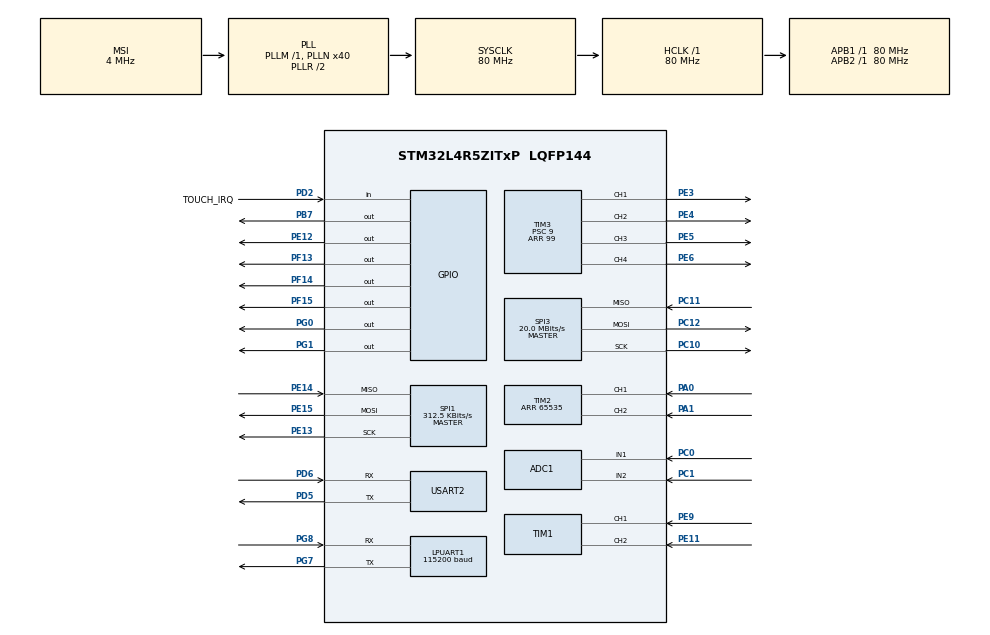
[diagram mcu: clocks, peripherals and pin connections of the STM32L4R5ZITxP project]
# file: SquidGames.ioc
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ADC1.Channel-0\#ChannelRegularConversion=ADC_CHANNEL_1
ADC1.Channel-1\#ChannelRegularConversion=ADC_CHANNEL_2
ADC1.ClockPrescaler=ADC_CLOCK_ASYNC_DIV32
ADC1.ContinuousConvMode=ENABLE
ADC1.DMAContinuousRequests=ENABLE
ADC1.NbrOfConversion=2
ADC1.NbrOfConversionFlag=1
ADC1.OffsetNumber-0\#ChannelRegularConversion=ADC_OFFSET_NONE
ADC1.OffsetNumber-1\#ChannelRegularConversion=ADC_OFFSET_NONE
ADC1.OversamplingMode=ENABLE
ADC1.Rank-0\#ChannelRegularConversion=1
ADC1.Rank-1\#ChannelRegularConversion=2
ADC1.Ratio=ADC_OVERSAMPLING_RATIO_256
ADC1.RightBitShift=ADC_RIGHTBITSHIFT_4
ADC1.SamplingTime-0\#ChannelRegularConversion=ADC_SAMPLETIME_92CYCLES_5
ADC1.SamplingTime-1\#ChannelRegularConversion=ADC_SAMPLETIME_92CYCLES_5
ADC1.master=1
Dma.ADC1.0.Direction=DMA_PERIPH_TO_MEMORY
Dma.ADC1.0.EventEnable=DISABLE
Dma.ADC1.0.Instance=DMA1_Channel1
Dma.ADC1.0.MemDataAlignment=DMA_MDATAALIGN_HALFWORD
Dma.ADC1.0.MemInc=DMA_MINC_ENABLE
Dma.ADC1.0.Mode=DMA_CIRCULAR
Dma.ADC1.0.PeriphDataAlignment=DMA_PDATAALIGN_HALFWORD
Dma.ADC1.0.PeriphInc=DMA_PINC_DISABLE
Dma.ADC1.0.Polarity=HAL_DMAMUX_REQUEST_GEN_RISING
Dma.ADC1.0.Priority=DMA_PRIORITY_LOW
Dma.ADC1.0.RequestNumber=1
Dma.ADC1.0.SignalID=NONE
Dma.ADC1.0.SyncEnable=DISABLE
Dma.ADC1.0.SyncPolarity=HAL_DMAMUX_SYNC_NO_EVENT
Dma.ADC1.0.SyncRequestNumber=1
Dma.ADC1.0.SyncSignalID=NONE
Dma.Request0=ADC1
Dma.Request1=SPI3_TX
Dma.SPI3_TX.1.Direction=DMA_MEMORY_TO_PERIPH
Dma.SPI3_TX.1.EventEnable=DISABLE
Dma.SPI3_TX.1.Instance=DMA1_Channel2
Dma.SPI3_TX.1.MemDataAlignment=DMA_MDATAALIGN_BYTE
Dma.SPI3_TX.1.MemInc=DMA_MINC_ENABLE
Dma.SPI3_TX.1.Mode=DMA_NORMAL
Dma.SPI3_TX.1.PeriphDataAlignment=DMA_PDATAALIGN_BYTE
Dma.SPI3_TX.1.PeriphInc=DMA_PINC_DISABLE
Dma.SPI3_TX.1.Polarity=HAL_DMAMUX_REQUEST_GEN_RISING
Dma.SPI3_TX.1.Priority=DMA_PRIORITY_HIGH
Dma.SPI3_TX.1.RequestNumber=1
Dma.SPI3_TX.1.SignalID=NONE
Dma.SPI3_TX.1.SyncEnable=DISABLE
Dma.SPI3_TX.1.SyncPolarity=HAL_DMAMUX_SYNC_NO_EVENT
Dma.SPI3_TX.1.SyncRequestNumber=1
Dma.SPI3_TX.1.SyncSignalID=NONE
LPUART1.BaudRate=115200
LPUART1.WordLength=UART_WORDLENGTH_8B
Mcu.Family=STM32L4
Mcu.Name=STM32L4R5ZITxP
Mcu.Package=LQFP144
NVIC.DMA1_Channel1_IRQn=true\:0\:0\:false\:false\:true\:false\:true\:true
NVIC.DMA1_Channel2_IRQn=true\:0\:0\:false\:false\:true\:false\:true\:true
NVIC.PriorityGroup=NVIC_PRIORITYGROUP_4
NVIC.SPI3_IRQn=true\:0\:0\:false\:false\:true\:true\:true\:true
NVIC.TIM4_IRQn=true\:0\:0\:false\:false\:true\:true\:true\:true
NVIC.TIM5_IRQn=true\:0\:0\:false\:false\:true\:true\:true\:true
NVIC.USART2_IRQn=true\:0\:0\:false\:false\:true\:true\:true\:true
PA0.Signal=S_TIM2_CH1
PA1.Signal=S_TIM2_CH2
PA10.Signal=USB_OTG_FS_ID
PA13\ (JTMS/SWDIO).Signal=SYS_JTMS-SWDIO
PA14\ (JTCK/SWCLK).Signal=SYS_JTCK-SWCLK
PA3.Signal=ADCx_IN8
PA8.Signal=USB_OTG_FS_SOF
PA9.Signal=USB_OTG_FS_VBUS
PB0.Signal=OCTOSPIM_P1_IO1
PB1.Signal=ADCx_IN16
PB10.Signal=S_TIM2_CH3
PB12.Signal=SAI2_FS_A
PB13.Signal=SAI2_SCK_A
PB14.Signal=S_TIM15_CH1
PB15.Signal=SAI2_SD_A
PB2.Signal=COMP1_INP
PB6.Signal=S_TIM4_CH1
PB7.Signal=GPIO_Output
PB8.Signal=I2C1_SCL
PB9.Signal=I2C1_SDA
PC0.Signal=ADCx_IN1
PC1.Signal=ADCx_IN2
PC10.Mode=Full_Duplex_Master
PC10.Signal=SPI3_SCK
PC11.Mode=Full_Duplex_Master
PC11.Signal=SPI3_MISO
PC12.Mode=Full_Duplex_Master
PC12.Signal=SPI3_MOSI
PC13.Signal=SYS_WKUP2
PC14-OSC32_IN\ (PC14).Signal=RCC_OSC32_IN
PC15-OSC32_OUT\ (PC15).Signal=RCC_OSC32_OUT
PC2.Signal=ADCx_IN3
PC3.Signal=ADCx_IN4
PC4.Signal=USART3_TX
PC5.Signal=USART3_RX
PC6.Signal=SAI2_MCLK_A
PC7.Signal=SDMMC1_D123DIR
PC8.Signal=SDMMC1_D0
PC9.Signal=SDMMC1_D1
PD0.Signal=CAN1_RX
PD14.Signal=S_TIM4_CH3
PD15.Signal=S_TIM4_CH4
PD2.GPIO_Label=TOUCH_IRQ
PD2.GPIO_PuPd=GPIO_PULLUP
PD2.Signal=GPIO_Input
PD3.Signal=USART2_CTS
PD4.Signal=USART2_RTS
PD5.Mode=Asynchronous
PD5.Signal=USART2_TX
PD6.Mode=Asynchronous
PD6.Signal=USART2_RX
PE0.Signal=S_TIM4_ETR
PE10.Signal=TIM1_CH2N
PE11.Signal=S_TIM1_CH2
PE12.Signal=GPIO_Output
PE13.Mode=Full_Duplex_Master
PE13.Signal=SPI1_SCK
PE14.GPIO_PuPd=GPIO_PULLUP
PE14.Mode=Full_Duplex_Master
PE14.Signal=SPI1_MISO
PE15.Mode=Full_Duplex_Master
PE15.Signal=SPI1_MOSI
PE2.Signal=SAI1_MCLK_A
PE3.Signal=S_TIM3_CH1
PE4.Signal=S_TIM3_CH2
PE5.Signal=S_TIM3_CH3
PE6.Signal=S_TIM3_CH4
PE7.Signal=S_TIM1_ETR
PE8.Signal=TIM1_CH1N
PE9.Signal=S_TIM1_CH1
PF0.Signal=I2C2_SDA
PF1.Signal=I2C2_SCL
PF13.GPIO_Speed=GPIO_SPEED_FREQ_HIGH
PF13.PinState=GPIO_PIN_SET
PF13.Signal=GPIO_Output
PF14.GPIO_Speed=GPIO_SPEED_FREQ_HIGH
PF14.PinState=GPIO_PIN_SET
PF14.Signal=GPIO_Output
PF15.GPIO_Speed=GPIO_SPEED_FREQ_HIGH
PF15.PinState=GPIO_PIN_SET
PF15.Signal=GPIO_Output
PF2.Signal=I2C2_SMBA
PF7.Signal=SAI1_MCLK_B
PG0.Signal=GPIO_Output
PG1.Signal=GPIO_Output
PG7.Mode=Asynchronous
PG7.Signal=LPUART1_TX
PG8.Mode=Asynchronous
PG8.Signal=LPUART1_RX
PH0-OSC_IN\ (PH0).Signal=RCC_OSC_IN
PH1-OSC_OUT\ (PH1).Signal=RCC_OSC_OUT
ProjectManager.HeapSize=0x200
ProjectManager.StackSize=0x400
ProjectManager.TargetToolchain=STM32CubeIDE
RCC.ADCFreq_Value=32000000
RCC.AHBFreq_Value=80000000
RCC.APB1Freq_Value=80000000
RCC.APB1TimFreq_Value=80000000
RCC.APB2Freq_Value=80000000
RCC.APB2TimFreq_Value=80000000
RCC.CortexFreq_Value=80000000
RCC.HCLKFreq_Value=80000000
RCC.HSE_VALUE=8000000
RCC.HSI48_VALUE=48000000
RCC.HSI_VALUE=16000000
RCC.LSE_VALUE=32768
RCC.MSI_VALUE=4000000
RCC.PLLN=40
RCC.PLLSAI1N=16
RCC.SYSCLKFreq_VALUE=80000000
RCC.SYSCLKSource=RCC_SYSCLKSOURCE_PLLCLK
RCC.USBFreq_Value=32000000
RCC.VCOOutputFreq_Value=160000000
SH.ADCx_IN1.0=ADC1_IN1,IN1-Single-Ended
SH.ADCx_IN16.0=ADC1_IN16
SH.ADCx_IN2.0=ADC1_IN2,IN2-Single-Ended
SH.ADCx_IN3.0=ADC1_IN3
SH.ADCx_IN4.0=ADC1_IN4
SH.ADCx_IN8.0=ADC1_IN8
SH.S_TIM15_CH1.0=TIM15_CH1
SH.S_TIM1_CH1.0=TIM1_CH1,Encoder_Interface
SH.S_TIM1_CH2.0=TIM1_CH2,Encoder_Interface
SH.S_TIM1_ETR.0=TIM1_ETR
SH.S_TIM2_CH1.0=TIM2_CH1,Encoder_Interface
SH.S_TIM2_CH2.0=TIM2_CH2,Encoder_Interface
SH.S_TIM2_CH3.0=TIM2_CH3
SH.S_TIM3_CH1.0=TIM3_CH1,PWM Generation1 CH1
SH.S_TIM3_CH2.0=TIM3_CH2,PWM Generation2 CH2
SH.S_TIM3_CH3.0=TIM3_CH3,PWM Generation3 CH3
SH.S_TIM3_CH4.0=TIM3_CH4,PWM Generation4 CH4
SH.S_TIM4_CH1.0=TIM4_CH1
SH.S_TIM4_CH3.0=TIM4_CH3
SH.S_TIM4_CH4.0=TIM4_CH4
SH.S_TIM4_ETR.0=TIM4_ETR
SPI1.BaudRatePrescaler=SPI_BAUDRATEPRESCALER_256
SPI1.CLKPhase=SPI_PHASE_2EDGE
SPI1.CLKPolarity=SPI_POLARITY_HIGH
SPI1.CalculateBaudRate=312.5 KBits/s
SPI1.DataSize=SPI_DATASIZE_8BIT
SPI1.Direction=SPI_DIRECTION_2LINES
SPI1.FirstBit=SPI_FIRSTBIT_LSB
SPI1.Mode=SPI_MODE_MASTER
SPI1.VirtualType=VM_MASTER
SPI3.BaudRatePrescaler=SPI_BAUDRATEPRESCALER_4
SPI3.CalculateBaudRate=20.0 MBits/s
SPI3.DataSize=SPI_DATASIZE_8BIT
SPI3.Direction=SPI_DIRECTION_2LINES
SPI3.Mode=SPI_MODE_MASTER
SPI3.NSSPMode=SPI_NSS_PULSE_DISABLE
SPI3.VirtualType=VM_MASTER
TIM1.EncoderMode=TIM_ENCODERMODE_TI12
TIM2.EncoderMode=TIM_ENCODERMODE_TI12
TIM2.IC1Polarity=TIM_ICPOLARITY_RISING
TIM2.IC2Polarity=TIM_ICPOLARITY_FALLING
TIM2.Period=65535
TIM3.Channel-PWM\ Generation1\ CH1=TIM_CHANNEL_1
TIM3.Channel-PWM\ Generation2\ CH2=TIM_CHANNEL_2
TIM3.Channel-PWM\ Generation3\ CH3=TIM_CHANNEL_3
TIM3.Channel-PWM\ Generation4\ CH4=TIM_CHANNEL_4
TIM3.Period=99
TIM3.Prescaler=9
TIM4.Prescaler=7
TIM5.Period=9999
TIM5.Prescaler=79
USART2.VirtualMode-Asynchronous=VM_ASYNC
VP_TIM4_VS_ClockSourceINT.Mode=Internal
VP_TIM5_VS_ClockSourceINT.Mode=Internal
board=NUCLEO-L4R5ZI-P

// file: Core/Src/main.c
/* USER CODE BEGIN Header */
/**
  ******************************************************************************
  * @file           : main.c
  * @brief          : Main program body
  ******************************************************************************
  * @attention
  *
  * Copyright (c) 2026 STMicroelectronics.
  * All rights reserved.
  *
  * This software is licensed under terms that can be found in the LICENSE file
  * in the root directory of this software component.
  * If no LICENSE file comes with this software, it is provided AS-IS.
  *
  ******************************************************************************
  */
/* USER CODE END Header */
#include "main.h"

/* USER CODE BEGIN Includes */
#include "stdio.h"
#include "string.h"
#include "ili9488.h"
#include "xpt2046.h"

#include "lvgl.h"
#include "motor_ui.h"
#include <math.h>
#include "screen_main.h"
#include "types.h"
#include "controller.h"
#include "motor.h"
/* USER CODE END Includes */

ADC_HandleTypeDef hadc1;
DMA_HandleTypeDef hdma_adc1;

UART_HandleTypeDef hlpuart1;
UART_HandleTypeDef huart2;

SPI_HandleTypeDef hspi1;
SPI_HandleTypeDef hspi3;
DMA_HandleTypeDef hdma_spi3_tx;

TIM_HandleTypeDef htim1;
TIM_HandleTypeDef htim2;
TIM_HandleTypeDef htim3;
TIM_HandleTypeDef htim4;
TIM_HandleTypeDef htim5;

/* USER CODE BEGIN PV */
Motor motor_1;
Motor motor_2;

float motor_1_ewma_limit = 0.35f;
float motor_2_ewma_limit = 0.40f;

ControllerState cs = {0.0f, 0.0f, 0, 0, 0, 0, 0, 0};
ControllerState last_state = {0.0f, 0.0f, 0, 0, 0, 0, 0, 0};
volatile uint16_t adc_vals[2];
int slip = 0;
int PID_enabled = 0;
int gyro_control = 0;
ExploreState es = START_RIGHT;
ControllerMode ps2_mode = ADVANCED;
float current_limit;
float speed_mul = 250;

// LVGL display buffer
static lv_disp_draw_buf_t draw_buf;
static lv_color_t lvgl_buf1[ILI9488_WIDTH * LVGL_BUF_LINES];
static lv_color_t lvgl_buf2[ILI9488_WIDTH * LVGL_BUF_LINES];

// DMA transfer buffer — holds RGB666 converted pixels
// Max size: 320 pixels * 10 rows * 3 bytes = 9,600 bytes
static uint8_t dma_buf[ILI9488_WIDTH * LVGL_BUF_LINES * 3];

// Store the display driver pointer so the DMA ISR can call lv_disp_flush_ready
static lv_disp_drv_t *disp_drv_p = NULL;
lv_disp_t * g_disp_p;
volatile uint8_t dma_busy = 0;
uint8_t is_display_dma_busy(void) {
    return dma_busy;
}
static lv_indev_drv_t indev_drv;
/* USER CODE END PV */

void SystemClock_Config(void);
static void MX_GPIO_Init(void);
static void MX_DMA_Init(void);
static void MX_TIM2_Init(void);
static void MX_LPUART1_UART_Init(void);
static void MX_TIM3_Init(void);
static void MX_TIM1_Init(void);
static void MX_SPI1_Init(void);
static void MX_ADC1_Init(void);
static void MX_SPI3_Init(void);
static void MX_USART2_UART_Init(void);
static void MX_TIM4_Init(void);
static void MX_TIM5_Init(void);
/* USER CODE BEGIN PFP */
static void lvgl_display_init(void);
static void my_flush_cb(lv_disp_drv_t *drv, const lv_area_t *area, lv_color_t *color_p);
void input_handler();

/* USER CODE END PFP */

/* USER CODE BEGIN 0 */
void control(Motor* m) {
	float velocity = get_velocity(m);
	m->target_velocity += min(max(m->set_velocity - m->target_velocity, -MAX_ACCEL), MAX_ACCEL);
	float duty_cycle = pid(m, velocity, m->target_velocity);
	set_pwm(m, duty_cycle, &htim3);
}

void HAL_TIM_PeriodElapsedCallback(TIM_HandleTypeDef *htim)
{
    if (htim->Instance == TIM4)  // control loop timer at 1kHz
    {
    	if (PID_enabled) {
            control(&motor_1);
            control(&motor_2);
    	}
    } else if (htim->Instance == TIM5) {
    	input_handler();
    }
}

void joystick_to_motor(float input1, float input2, float* motor_1_speed, float* motor_2_speed, ControllerMode mode) {
	// motor 1 is on the left, motor 2 is on the right
	// negative is pulling on the string, positive is releasing tension
	switch (mode) {
		case EXPERT:
			*motor_1_speed = input1;
			*motor_2_speed = input2;
			break;
		case ADVANCED:
			*motor_1_speed = input1;
			*motor_2_speed = input2;
			if (slip > MAX_SLIP) {
				*motor_1_speed = min(*motor_1_speed, 0);
				*motor_2_speed = min(*motor_2_speed, 0);
			}
			break;
		// TODO: think about disabling brake mode for this mode
		case PULL_ONLY:
			*motor_1_speed = min(input1, 0);
			*motor_2_speed = min(input2, 0);
			break;
		case LEFT_RIGHT:
			if (input1 < 0) {
				*motor_1_speed = input1;
				float offset = min(-0.5 * input1, 0.1);
				if (slip < MAX_SLIP) {
					*motor_2_speed = input2 + offset; // add a slight unspooling offset
				} else {
					*motor_2_speed = 0;
				}
			} else if (input1 > 0) {
				*motor_2_speed = -1.0 * input1;
				float offset = min(0.5 * input1, 0.1);
				if (slip < MAX_SLIP) {
					*motor_1_speed = input2 + offset;
				} else {
					*motor_1_speed = 0;
				}
			} else { // left/right control at 0, don't want to be able to unspool the other guy
				*motor_1_speed = 0;
				*motor_2_speed = 0;
			}
			break;
		case AUTO_SPOOL:
			*motor_1_speed = -0.12 + input1;
			*motor_2_speed = -0.13 + input2;
			break;
		case SAFE:
			if (input1 > 0) {
				input1 = min(input1, max((-motor_2.velocity_ewma / speed_mul) * 0.95, 0));
			}
			if (input2 > 0) {
				input2 = min(input2, max((-motor_1.velocity_ewma / speed_mul) * 0.95, 0));
			}
			*motor_1_speed = input1;
			*motor_2_speed = input2;
			break;
	}
}

ExploreState explore_update(ExploreState es) {
	static int wait_states = 0;
	static ExploreState next_state = WAIT;
	float motor_1_speed = 0.0f, motor_2_speed = 0.0f;
	update_ewma(&motor_1);
	update_ewma(&motor_2);
	switch (es) {
	case START_LEFT:
		HAL_GPIO_WritePin(GPIOB, GPIO_PIN_7, GPIO_PIN_SET);
		motor_1_speed = -0.3;
		motor_2_speed = 0.27;
		set_pwm(&motor_1, motor_1_speed, &htim3);
		set_pwm(&motor_2, motor_2_speed, &htim3);
		// wait for startup current transient to stop
		wait_states = 40;
		next_state = MOVE_LEFT;
		es = WAIT;
		break;
	case MOVE_LEFT:
		HAL_GPIO_WritePin(GPIOB, GPIO_PIN_7, GPIO_PIN_RESET);
		if (motor_1.current_ewma_fast > motor_1_ewma_limit) {
			motor_1_speed = 0;
			motor_2_speed = 0;
			es = STOP_RIGHT;
		} else {
			motor_1_speed = -0.3;
			motor_2_speed = 0.27;
		}
		break;
	case STOP_LEFT:
		// make motors stop
		motor_1_speed = 0;
		motor_2_speed = 0;
		wait_states = 20;
		next_state = START_LEFT;
		es = WAIT;
		break;
	case START_RIGHT:
		HAL_GPIO_WritePin(GPIOB, GPIO_PIN_7, GPIO_PIN_SET);
		motor_2_speed = -0.3;
		motor_1_speed = 0.27;
		set_pwm(&motor_1, motor_1_speed, &htim3);
		set_pwm(&motor_2, motor_2_speed, &htim3);
		wait_states = 40;
		// wait for startup current transient to stop
		next_state = MOVE_RIGHT;
		es = WAIT;
		break;
	case MOVE_RIGHT:
		HAL_GPIO_WritePin(GPIOB, GPIO_PIN_7, GPIO_PIN_RESET);
		if (motor_2.current_ewma_fast > motor_2_ewma_limit) {
			motor_1_speed = 0;
			motor_2_speed = 0;
			es = STOP_LEFT;
		} else {
			motor_2_speed = -0.3;
			motor_1_speed = 0.27;
		}
		break;
	case STOP_RIGHT:
		// make motors stop
		motor_1_speed = 0;
		motor_2_speed = 0;
		wait_states = 20;
		next_state = START_RIGHT;
		es = WAIT;
		break;
	case WAIT:
		if (wait_states-- == 0) {
			es = next_state;
		} else {
			es = WAIT;
		}
		return es;
	}
	set_pwm(&motor_1, motor_1_speed, &htim3);
	set_pwm(&motor_2, motor_2_speed, &htim3);
	return es;
}

// Bluetooth Data
uint8_t UARTBuffer[8];
float roll = 0;
float pitch = 0;
// ---- LVGL Display Flush Callback (DMA version) ----
// Converts RGB565 → RGB666 into a static buffer, then fires DMA.
// Returns immediately — CPU is free while DMA streams to SPI.
// lv_disp_flush_ready() is called from HAL_SPI_TxCpltCallback when done.
static void my_flush_cb(lv_disp_drv_t *drv, const lv_area_t *area, lv_color_t *color_p) {
    while (dma_busy);        // wait out the previous transfer
    dma_busy = 1;

    uint16_t w = area->x2 - area->x1 + 1;
    uint16_t h = area->y2 - area->y1 + 1;
    uint32_t total_pixels = w * h;

    // Save the driver pointer for the DMA completion callback
    disp_drv_p = drv;

    // Convert all pixels from RGB565 → RGB666 into the DMA buffer
    uint8_t *dst = dma_buf;
    for (uint32_t i = 0; i < total_pixels; i++) {
        uint16_t c = color_p[i].full;
        *dst++ = (c >> 8) & 0xF8;
        *dst++ = (c >> 3) & 0xFC;
        *dst++ = (c << 3) & 0xF8;
    }

    // Set the address window (blocking — only a few bytes, fast)
    ILI9488_SetWindow(area->x1, area->y1, area->x2, area->y2);

    // Set DC=data, CS=low, then fire DMA
    LCD_DC_HIGH();
    LCD_CS_LOW();
//    HAL_SPI_Transmit_DMA(&hspi3, dma_buf, total_pixels * 3);

    HAL_StatusTypeDef ret = HAL_SPI_Transmit_DMA(&hspi3, dma_buf, total_pixels * 3);
    if (ret != HAL_OK) {
        LCD_CS_HIGH();
        dma_busy = 0;
        lv_disp_flush_ready(drv);  // unblock LVGL even on failure
    }
    // DO NOT call lv_disp_flush_ready here!
    // It will be called from HAL_SPI_TxCpltCallback when DMA finishes.
}

// ---- LVGL Display Driver Setup ----
static void lvgl_display_init(void) {
	lv_disp_draw_buf_init(&draw_buf, lvgl_buf1, lvgl_buf2, ILI9488_WIDTH * LVGL_BUF_LINES);

    static lv_disp_drv_t disp_drv;
    lv_disp_drv_init(&disp_drv);
    disp_drv.hor_res  = ILI9488_WIDTH;    // 320
    disp_drv.ver_res  = ILI9488_HEIGHT;   // 480

    disp_drv.flush_cb = my_flush_cb;
    disp_drv.draw_buf = &draw_buf;
    g_disp_p = lv_disp_drv_register(&disp_drv);
//    lv_disp_set_rotation(g_disp_p, LV_DISP_ROT_90);
}

// ---- DMA Transfer Complete Callback ----
// Called by HAL from the DMA interrupt when SPI TX finishes.
void HAL_SPI_TxCpltCallback(SPI_HandleTypeDef *hspi) {
    if (hspi->Instance == SPI3) {
        LCD_CS_HIGH();
        dma_busy = 0;
        if (disp_drv_p != NULL) lv_disp_flush_ready(disp_drv_p);
    }
}

static void my_touchpad_read(lv_indev_drv_t *drv, lv_indev_data_t *data) {
    static int16_t last_x = 0, last_y = 0;
    int16_t x, y;

    if (XPT2046_Read(&x, &y)) {
        last_x = x;
        last_y = y;
        data->state = LV_INDEV_STATE_PRESSED;
    } else {
        data->state = LV_INDEV_STATE_RELEASED;
    }
    /* LVGL expects the last known point reported on release as well. */
    data->point.x = last_x;
    data->point.y = last_y;
}

static void lvgl_touch_init(void) {
    XPT2046_Init();
    lv_indev_drv_init(&indev_drv);
    indev_drv.type    = LV_INDEV_TYPE_POINTER;
    indev_drv.read_cb = my_touchpad_read;
    lv_indev_drv_register(&indev_drv);
}

void input_handler() {
	settings_t s = settings_get();
	current_limit = s.current_limit;
	speed_mul = s.speed_mult;

	float motor_1_speed = 0.f, motor_2_speed = 0.f;

	switch (s.mode) {
	case BASIC:
	case ADV:
	case PULL:
		PID_enabled = 1;
		// returns 0 if controller is in digital mode (invalid)
		if (!update_controller_state(&cs, &last_state, &hspi1)) {
			set_pwm(&motor_1, 0, &htim3);
			set_pwm(&motor_2, 0, &htim3);
			return;
		}

		if (!cs.circle && !cs.square) {
			switch (s.mode) {
				case BASIC:
					joystick_to_motor(cs.joy_1_y, cs.joy_2_y, &motor_1_speed, &motor_2_speed, SAFE);
					break;
				case ADV:
					joystick_to_motor(cs.joy_1_y, cs.joy_2_y, &motor_1_speed, &motor_2_speed, ADVANCED);
					break;
				case PULL:
					joystick_to_motor(cs.joy_1_y, cs.joy_2_y, &motor_1_speed, &motor_2_speed, PULL_ONLY);
					break;
			}
		} else if (cs.circle && !cs.square) { // move right
			motor_2_speed = -0.3;
			motor_1_speed = 0.27;
		} else if (cs.square && !cs.circle) { // move left
			motor_1_speed = -0.3;
			motor_2_speed = 0.27;
		} else {
			motor_1_speed = 0;
			motor_2_speed = 0;
		}

		set_velocity(&motor_1, motor_1_speed * s.speed_mult);
		set_velocity(&motor_2, motor_2_speed * s.speed_mult);
		break;
	case BLUETOOTH:
		PID_enabled = 0;
		roll = min(max(roll, -1), 1);
		pitch = min(max(pitch, -1), 1);
		joystick_to_motor(-roll, pitch, &motor_1_speed, &motor_2_speed, LEFT_RIGHT);
		set_pwm(&motor_1, motor_1_speed * s.speed_mult / 400, &htim3);
		set_pwm(&motor_2, motor_2_speed * s.speed_mult / 400, &htim3);
		break;
	case EXPLORE:
		PID_enabled = 0;
		es = explore_update(es);
		break;
	}
	int16_t enc1 = motor_1.get_encoder_count();
	int16_t enc2 = motor_2.get_encoder_count();
	slip = enc1 + enc2;
}
/* USER CODE END 0 */

int main(void)
{

  /* MCU Configuration--------------------------------------------------------*/

  /* Reset of all peripherals, Initializes the Flash interface and the Systick. */
  HAL_Init();

  /* Configure the system clock */
  SystemClock_Config();

  /* Initialize all configured peripherals */
  MX_GPIO_Init();
  MX_DMA_Init();
  MX_TIM2_Init();
  MX_LPUART1_UART_Init();
  MX_TIM3_Init();
  MX_TIM1_Init();
  MX_SPI1_Init();
  MX_ADC1_Init();
  MX_SPI3_Init();
  MX_USART2_UART_Init();
  MX_TIM4_Init();
  MX_TIM5_Init();
  /* USER CODE BEGIN 2 */

  // Init the LCD hardware
  ILI9488_Init(&hspi3);
  // Init LVGL core
  lv_init();
  // Register the display driver
  lvgl_display_init();
  // setup touch
  lvgl_touch_init();

  // calibrate ADC for better accuracy
  HAL_ADCEx_Calibration_Start(&hadc1, ADC_SINGLE_ENDED);

  HAL_TIM_PWM_Start(&htim3, TIM_CHANNEL_1);
  HAL_TIM_PWM_Start(&htim3, TIM_CHANNEL_2);
  HAL_TIM_PWM_Start(&htim3, TIM_CHANNEL_3);
  HAL_TIM_PWM_Start(&htim3, TIM_CHANNEL_4);
  // Start encoder mode
  __HAL_TIM_SET_COUNTER(&htim2, 0);
  __HAL_TIM_SET_COUNTER(&htim1, 0);
  HAL_TIM_Encoder_Start_IT(&htim2, TIM_CHANNEL_ALL);
  HAL_TIM_Encoder_Start_IT(&htim1, TIM_CHANNEL_ALL);
  // Initialize motors
  motor_1.pos_ch = TIM_CHANNEL_2;
  motor_1.neg_ch = TIM_CHANNEL_3;
  motor_2.pos_ch = TIM_CHANNEL_4;
  motor_2.neg_ch = TIM_CHANNEL_1;
  motor_1.gains.kp = 0.0035f;
  motor_1.gains.ki = 0.0175f;
  motor_1.gains.kd = 0.000067f;
  motor_1.gains.feed_forward = 0.0013f;
  motor_2.gains.kp = 0.0035f;
  motor_2.gains.ki = 0.0175f;
  motor_2.gains.kd = 0.000067f;
  motor_2.gains.feed_forward = 0.00145f;
  motor_1.id = 1;
  motor_2.id = 2;
  motor_1.get_encoder_count = get_tim1_val;
  motor_2.get_encoder_count = get_tim2_val;
  motor_1.get_current = get_current_1;
  motor_2.get_current = get_current_2;
  motor_1.current_ewma = 0;
  motor_2.current_ewma = 0;
  motor_2.current_ewma_fast = 0;
  motor_2.current_ewma_fast = 0;
  // current sensing
  HAL_ADC_Start_DMA(&hadc1, (uint32_t*)adc_vals, 2);
  // PID timer
  HAL_TIM_Base_Start_IT(&htim4);
  // input handling
  HAL_TIM_Base_Start_IT(&htim5);
  // Communicate with Wrist Mount
  HAL_NVIC_SetPriority(USART2_IRQn, 0, 0);
  HAL_NVIC_EnableIRQ(USART2_IRQn);
  HAL_UART_Receive_IT(&huart2, UARTBuffer, sizeof(UARTBuffer));
  // enable motors
  HAL_GPIO_WritePin(GPIOG, GPIO_PIN_0, GPIO_PIN_SET);
  HAL_GPIO_WritePin(GPIOG, GPIO_PIN_1, GPIO_PIN_SET);
  /* USER CODE END 2 */

  /* Infinite loop */
  /* USER CODE BEGIN WHILE */
  lv_obj_set_style_bg_color(lv_scr_act(), lv_color_hex(0x100f0d), LV_PART_MAIN);
  lv_obj_t *splash_view = lv_img_create(lv_scr_act());
  LV_IMG_DECLARE(splash);            // declare the converted image
  lv_img_set_src(splash_view, &splash);
  lv_obj_center(splash_view);

  uint32_t t0 = HAL_GetTick();
//  while (HAL_GetTick() - t0 < 2000) lv_timer_handler();  // show 2 sec
  while (!XPT2046_IS_TOUCHED()) lv_timer_handler();

  lv_obj_del(splash_view);
  screen_main_init();

  while (1)
  {
    /* USER CODE END WHILE */

    /* USER CODE BEGIN 3 */
	lv_timer_handler();

	static uint32_t last_print = 0;

	int16_t sx, sy;
	if (XPT2046_Read(&sx, &sy)) {
		last_print = HAL_GetTick();
	}

	motors_set_values(
			motor_1.current_ewma, motor_1.velocity_ewma,
			motor_2.current_ewma, motor_2.velocity_ewma
	);

	HAL_Delay(5);
  }
  /* USER CODE END 3 */
}

void SystemClock_Config(void)
{
  RCC_OscInitTypeDef RCC_OscInitStruct = {0};
  RCC_ClkInitTypeDef RCC_ClkInitStruct = {0};

  /** Configure the main internal regulator output voltage
  */
  if (HAL_PWREx_ControlVoltageScaling(PWR_REGULATOR_VOLTAGE_SCALE1) != HAL_OK)
  {
    Error_Handler();
  }

  /** Initializes the RCC Oscillators according to the specified parameters
  * in the RCC_OscInitTypeDef structure.
  */
  RCC_OscInitStruct.OscillatorType = RCC_OSCILLATORTYPE_MSI;
  RCC_OscInitStruct.MSIState = RCC_MSI_ON;
  RCC_OscInitStruct.MSICalibrationValue = 0;
  RCC_OscInitStruct.MSIClockRange = RCC_MSIRANGE_6;
  RCC_OscInitStruct.PLL.PLLState = RCC_PLL_ON;
  RCC_OscInitStruct.PLL.PLLSource = RCC_PLLSOURCE_MSI;
  RCC_OscInitStruct.PLL.PLLM = 1;
  RCC_OscInitStruct.PLL.PLLN = 40;
  RCC_OscInitStruct.PLL.PLLP = RCC_PLLP_DIV2;
  RCC_OscInitStruct.PLL.PLLQ = RCC_PLLQ_DIV2;
  RCC_OscInitStruct.PLL.PLLR = RCC_PLLR_DIV2;
  if (HAL_RCC_OscConfig(&RCC_OscInitStruct) != HAL_OK)
  {
    Error_Handler();
  }

  /** Initializes the CPU, AHB and APB buses clocks
  */
  RCC_ClkInitStruct.ClockType = RCC_CLOCKTYPE_HCLK|RCC_CLOCKTYPE_SYSCLK
                              |RCC_CLOCKTYPE_PCLK1|RCC_CLOCKTYPE_PCLK2;
  RCC_ClkInitStruct.SYSCLKSource = RCC_SYSCLKSOURCE_PLLCLK;
  RCC_ClkInitStruct.AHBCLKDivider = RCC_SYSCLK_DIV1;
  RCC_ClkInitStruct.APB1CLKDivider = RCC_HCLK_DIV1;
  RCC_ClkInitStruct.APB2CLKDivider = RCC_HCLK_DIV1;

  if (HAL_RCC_ClockConfig(&RCC_ClkInitStruct, FLASH_LATENCY_3) != HAL_OK)
  {
    Error_Handler();
  }
}

static void MX_ADC1_Init(void)
{

  ADC_ChannelConfTypeDef sConfig = {0};

  /** Common config
  */
  hadc1.Instance = ADC1;
  hadc1.Init.ClockPrescaler = ADC_CLOCK_ASYNC_DIV32;
  hadc1.Init.Resolution = ADC_RESOLUTION_12B;
  hadc1.Init.DataAlign = ADC_DATAALIGN_RIGHT;
  hadc1.Init.ScanConvMode = ADC_SCAN_ENABLE;
  hadc1.Init.EOCSelection = ADC_EOC_SINGLE_CONV;
  hadc1.Init.LowPowerAutoWait = DISABLE;
  hadc1.Init.ContinuousConvMode = ENABLE;
  hadc1.Init.NbrOfConversion = 2;
  hadc1.Init.DiscontinuousConvMode = DISABLE;
  hadc1.Init.ExternalTrigConv = ADC_SOFTWARE_START;
  hadc1.Init.ExternalTrigConvEdge = ADC_EXTERNALTRIGCONVEDGE_NONE;
  hadc1.Init.DMAContinuousRequests = ENABLE;
  hadc1.Init.Overrun = ADC_OVR_DATA_PRESERVED;
  hadc1.Init.OversamplingMode = ENABLE;
  hadc1.Init.Oversampling.Ratio = ADC_OVERSAMPLING_RATIO_256;
  hadc1.Init.Oversampling.RightBitShift = ADC_RIGHTBITSHIFT_4;
  hadc1.Init.Oversampling.TriggeredMode = ADC_TRIGGEREDMODE_SINGLE_TRIGGER;
  hadc1.Init.Oversampling.OversamplingStopReset = ADC_REGOVERSAMPLING_CONTINUED_MODE;
  if (HAL_ADC_Init(&hadc1) != HAL_OK)
  {
    Error_Handler();
  }

  /** Configure Regular Channel
  */
  sConfig.Channel = ADC_CHANNEL_1;
  sConfig.Rank = ADC_REGULAR_RANK_1;
  sConfig.SamplingTime = ADC_SAMPLETIME_92CYCLES_5;
  sConfig.SingleDiff = ADC_SINGLE_ENDED;
  sConfig.OffsetNumber = ADC_OFFSET_NONE;
  sConfig.Offset = 0;
  if (HAL_ADC_ConfigChannel(&hadc1, &sConfig) != HAL_OK)
  {
    Error_Handler();
  }

  /** Configure Regular Channel
  */
  sConfig.Channel = ADC_CHANNEL_2;
  sConfig.Rank = ADC_REGULAR_RANK_2;
  if (HAL_ADC_ConfigChannel(&hadc1, &sConfig) != HAL_OK)
  {
    Error_Handler();
  }

}

static void MX_LPUART1_UART_Init(void)
{

  hlpuart1.Instance = LPUART1;
  hlpuart1.Init.BaudRate = 115200;
  hlpuart1.Init.WordLength = UART_WORDLENGTH_8B;
  hlpuart1.Init.StopBits = UART_STOPBITS_1;
  hlpuart1.Init.Parity = UART_PARITY_NONE;
  hlpuart1.Init.Mode = UART_MODE_TX_RX;
  hlpuart1.Init.HwFlowCtl = UART_HWCONTROL_NONE;
  hlpuart1.Init.OneBitSampling = UART_ONE_BIT_SAMPLE_DISABLE;
  hlpuart1.Init.ClockPrescaler = UART_PRESCALER_DIV1;
  hlpuart1.AdvancedInit.AdvFeatureInit = UART_ADVFEATURE_NO_INIT;
  hlpuart1.FifoMode = UART_FIFOMODE_DISABLE;
  if (HAL_UART_Init(&hlpuart1) != HAL_OK)
  {
    Error_Handler();
  }
  if (HAL_UARTEx_SetTxFifoThreshold(&hlpuart1, UART_TXFIFO_THRESHOLD_1_8) != HAL_OK)
  {
    Error_Handler();
  }
  if (HAL_UARTEx_SetRxFifoThreshold(&hlpuart1, UART_RXFIFO_THRESHOLD_1_8) != HAL_OK)
  {
    Error_Handler();
  }
  if (HAL_UARTEx_DisableFifoMode(&hlpuart1) != HAL_OK)
  {
    Error_Handler();
  }

}

static void MX_USART2_UART_Init(void)
{

  huart2.Instance = USART2;
  huart2.Init.BaudRate = 115200;
  huart2.Init.WordLength = UART_WORDLENGTH_8B;
  huart2.Init.StopBits = UART_STOPBITS_1;
  huart2.Init.Parity = UART_PARITY_NONE;
  huart2.Init.Mode = UART_MODE_TX_RX;
  huart2.Init.HwFlowCtl = UART_HWCONTROL_NONE;
  huart2.Init.OverSampling = UART_OVERSAMPLING_16;
  huart2.Init.OneBitSampling = UART_ONE_BIT_SAMPLE_DISABLE;
  huart2.Init.ClockPrescaler = UART_PRESCALER_DIV1;
  huart2.AdvancedInit.AdvFeatureInit = UART_ADVFEATURE_NO_INIT;
  if (HAL_UART_Init(&huart2) != HAL_OK)
  {
    Error_Handler();
  }
  if (HAL_UARTEx_SetTxFifoThreshold(&huart2, UART_TXFIFO_THRESHOLD_1_8) != HAL_OK)
  {
    Error_Handler();
  }
  if (HAL_UARTEx_SetRxFifoThreshold(&huart2, UART_RXFIFO_THRESHOLD_1_8) != HAL_OK)
  {
    Error_Handler();
  }
  if (HAL_UARTEx_DisableFifoMode(&huart2) != HAL_OK)
  {
    Error_Handler();
  }

}

static void MX_SPI1_Init(void)
{

  /* SPI1 parameter configuration*/
  hspi1.Instance = SPI1;
  hspi1.Init.Mode = SPI_MODE_MASTER;
  hspi1.Init.Direction = SPI_DIRECTION_2LINES;
  hspi1.Init.DataSize = SPI_DATASIZE_8BIT;
  hspi1.Init.CLKPolarity = SPI_POLARITY_HIGH;
  hspi1.Init.CLKPhase = SPI_PHASE_2EDGE;
  hspi1.Init.NSS = SPI_NSS_SOFT;
  hspi1.Init.BaudRatePrescaler = SPI_BAUDRATEPRESCALER_256;
  hspi1.Init.FirstBit = SPI_FIRSTBIT_LSB;
  hspi1.Init.TIMode = SPI_TIMODE_DISABLE;
  hspi1.Init.CRCCalculation = SPI_CRCCALCULATION_DISABLE;
  hspi1.Init.CRCPolynomial = 7;
  hspi1.Init.CRCLength = SPI_CRC_LENGTH_DATASIZE;
  hspi1.Init.NSSPMode = SPI_NSS_PULSE_DISABLE;
  if (HAL_SPI_Init(&hspi1) != HAL_OK)
  {
    Error_Handler();
  }

}

static void MX_SPI3_Init(void)
{

  /* SPI3 parameter configuration*/
  hspi3.Instance = SPI3;
  hspi3.Init.Mode = SPI_MODE_MASTER;
  hspi3.Init.Direction = SPI_DIRECTION_2LINES;
  hspi3.Init.DataSize = SPI_DATASIZE_8BIT;
  hspi3.Init.CLKPolarity = SPI_POLARITY_LOW;
  hspi3.Init.CLKPhase = SPI_PHASE_1EDGE;
  hspi3.Init.NSS = SPI_NSS_SOFT;
  hspi3.Init.BaudRatePrescaler = SPI_BAUDRATEPRESCALER_4;
  hspi3.Init.FirstBit = SPI_FIRSTBIT_MSB;
  hspi3.Init.TIMode = SPI_TIMODE_DISABLE;
  hspi3.Init.CRCCalculation = SPI_CRCCALCULATION_DISABLE;
  hspi3.Init.CRCPolynomial = 7;
  hspi3.Init.CRCLength = SPI_CRC_LENGTH_DATASIZE;
  hspi3.Init.NSSPMode = SPI_NSS_PULSE_DISABLE;
  if (HAL_SPI_Init(&hspi3) != HAL_OK)
  {
    Error_Handler();
  }

}

static void MX_TIM1_Init(void)
{

  TIM_Encoder_InitTypeDef sConfig = {0};
  TIM_MasterConfigTypeDef sMasterConfig = {0};

  htim1.Instance = TIM1;
  htim1.Init.Prescaler = 0;
  htim1.Init.CounterMode = TIM_COUNTERMODE_UP;
  htim1.Init.Period = 65535;
  htim1.Init.ClockDivision = TIM_CLOCKDIVISION_DIV1;
  htim1.Init.RepetitionCounter = 0;
  htim1.Init.AutoReloadPreload = TIM_AUTORELOAD_PRELOAD_DISABLE;
  sConfig.EncoderMode = TIM_ENCODERMODE_TI12;
  sConfig.IC1Polarity = TIM_ICPOLARITY_RISING;
  sConfig.IC1Selection = TIM_ICSELECTION_DIRECTTI;
  sConfig.IC1Prescaler = TIM_ICPSC_DIV1;
  sConfig.IC1Filter = 0;
  sConfig.IC2Polarity = TIM_ICPOLARITY_RISING;
  sConfig.IC2Selection = TIM_ICSELECTION_DIRECTTI;
  sConfig.IC2Prescaler = TIM_ICPSC_DIV1;
  sConfig.IC2Filter = 0;
  if (HAL_TIM_Encoder_Init(&htim1, &sConfig) != HAL_OK)
  {
    Error_Handler();
  }
  sMasterConfig.MasterOutputTrigger = TIM_TRGO_RESET;
  sMasterConfig.MasterOutputTrigger2 = TIM_TRGO2_RESET;
  sMasterConfig.MasterSlaveMode = TIM_MASTERSLAVEMODE_DISABLE;
  if (HAL_TIMEx_MasterConfigSynchronization(&htim1, &sMasterConfig) != HAL_OK)
  {
    Error_Handler();
  }

}

static void MX_TIM2_Init(void)
{

  TIM_Encoder_InitTypeDef sConfig = {0};
  TIM_MasterConfigTypeDef sMasterConfig = {0};

  htim2.Instance = TIM2;
  htim2.Init.Prescaler = 0;
  htim2.Init.CounterMode = TIM_COUNTERMODE_UP;
  htim2.Init.Period = 65535;
  htim2.Init.ClockDivision = TIM_CLOCKDIVISION_DIV1;
  htim2.Init.AutoReloadPreload = TIM_AUTORELOAD_PRELOAD_DISABLE;
  sConfig.EncoderMode = TIM_ENCODERMODE_TI12;
  sConfig.IC1Polarity = TIM_ICPOLARITY_RISING;
  sConfig.IC1Selection = TIM_ICSELECTION_DIRECTTI;
  sConfig.IC1Prescaler = TIM_ICPSC_DIV1;
  sConfig.IC1Filter = 0;
  sConfig.IC2Polarity = TIM_ICPOLARITY_FALLING;
  sConfig.IC2Selection = TIM_ICSELECTION_DIRECTTI;
  sConfig.IC2Prescaler = TIM_ICPSC_DIV1;
  sConfig.IC2Filter = 0;
  if (HAL_TIM_Encoder_Init(&htim2, &sConfig) != HAL_OK)
  {
    Error_Handler();
  }
  sMasterConfig.MasterOutputTrigger = TIM_TRGO_RESET;
  sMasterConfig.MasterSlaveMode = TIM_MASTERSLAVEMODE_DISABLE;
  if (HAL_TIMEx_MasterConfigSynchronization(&htim2, &sMasterConfig) != HAL_OK)
  {
    Error_Handler();
  }

}

static void MX_TIM3_Init(void)
{

  TIM_MasterConfigTypeDef sMasterConfig = {0};
  TIM_OC_InitTypeDef sConfigOC = {0};

  htim3.Instance = TIM3;
  htim3.Init.Prescaler = 9;
  htim3.Init.CounterMode = TIM_COUNTERMODE_UP;
  htim3.Init.Period = 99;
  htim3.Init.ClockDivision = TIM_CLOCKDIVISION_DIV1;
  htim3.Init.AutoReloadPreload = TIM_AUTORELOAD_PRELOAD_DISABLE;
  if (HAL_TIM_PWM_Init(&htim3) != HAL_OK)
  {
    Error_Handler();
  }
  sMasterConfig.MasterOutputTrigger = TIM_TRGO_RESET;
  sMasterConfig.MasterSlaveMode = TIM_MASTERSLAVEMODE_DISABLE;
  if (HAL_TIMEx_MasterConfigSynchronization(&htim3, &sMasterConfig) != HAL_OK)
  {
    Error_Handler();
  }
  sConfigOC.OCMode = TIM_OCMODE_PWM1;
  sConfigOC.Pulse = 0;
  sConfigOC.OCPolarity = TIM_OCPOLARITY_HIGH;
  sConfigOC.OCFastMode = TIM_OCFAST_DISABLE;
  if (HAL_TIM_PWM_ConfigChannel(&htim3, &sConfigOC, TIM_CHANNEL_1) != HAL_OK)
  {
    Error_Handler();
  }
  if (HAL_TIM_PWM_ConfigChannel(&htim3, &sConfigOC, TIM_CHANNEL_2) != HAL_OK)
  {
    Error_Handler();
  }
  if (HAL_TIM_PWM_ConfigChannel(&htim3, &sConfigOC, TIM_CHANNEL_3) != HAL_OK)
  {
    Error_Handler();
  }
  if (HAL_TIM_PWM_ConfigChannel(&htim3, &sConfigOC, TIM_CHANNEL_4) != HAL_OK)
  {
    Error_Handler();
  }
  HAL_TIM_MspPostInit(&htim3);

}

static void MX_TIM4_Init(void)
{

  TIM_ClockConfigTypeDef sClockSourceConfig = {0};
  TIM_MasterConfigTypeDef sMasterConfig = {0};

  htim4.Instance = TIM4;
  htim4.Init.Prescaler = 7;
  htim4.Init.CounterMode = TIM_COUNTERMODE_UP;
  htim4.Init.Period = 65535;
  htim4.Init.ClockDivision = TIM_CLOCKDIVISION_DIV1;
  htim4.Init.AutoReloadPreload = TIM_AUTORELOAD_PRELOAD_DISABLE;
  if (HAL_TIM_Base_Init(&htim4) != HAL_OK)
  {
    Error_Handler();
  }
  sClockSourceConfig.ClockSource = TIM_CLOCKSOURCE_INTERNAL;
  if (HAL_TIM_ConfigClockSource(&htim4, &sClockSourceConfig) != HAL_OK)
  {
    Error_Handler();
  }
  sMasterConfig.MasterOutputTrigger = TIM_TRGO_RESET;
  sMasterConfig.MasterSlaveMode = TIM_MASTERSLAVEMODE_DISABLE;
  if (HAL_TIMEx_MasterConfigSynchronization(&htim4, &sMasterConfig) != HAL_OK)
  {
    Error_Handler();
  }

}

static void MX_TIM5_Init(void)
{

  TIM_ClockConfigTypeDef sClockSourceConfig = {0};
  TIM_MasterConfigTypeDef sMasterConfig = {0};

  htim5.Instance = TIM5;
  htim5.Init.Prescaler = 79;
  htim5.Init.CounterMode = TIM_COUNTERMODE_UP;
  htim5.Init.Period = 9999;
  htim5.Init.ClockDivision = TIM_CLOCKDIVISION_DIV1;
  htim5.Init.AutoReloadPreload = TIM_AUTORELOAD_PRELOAD_DISABLE;
  if (HAL_TIM_Base_Init(&htim5) != HAL_OK)
  {
    Error_Handler();
  }
  sClockSourceConfig.ClockSource = TIM_CLOCKSOURCE_INTERNAL;
  if (HAL_TIM_ConfigClockSource(&htim5, &sClockSourceConfig) != HAL_OK)
  {
    Error_Handler();
  }
  sMasterConfig.MasterOutputTrigger = TIM_TRGO_RESET;
  sMasterConfig.MasterSlaveMode = TIM_MASTERSLAVEMODE_DISABLE;
  if (HAL_TIMEx_MasterConfigSynchronization(&htim5, &sMasterConfig) != HAL_OK)
  {
    Error_Handler();
  }

}

static void MX_DMA_Init(void)
{

  /* DMA controller clock enable */
  __HAL_RCC_DMAMUX1_CLK_ENABLE();
  __HAL_RCC_DMA1_CLK_ENABLE();

  /* DMA interrupt init */
  /* DMA1_Channel1_IRQn interrupt configuration */
  HAL_NVIC_SetPriority(DMA1_Channel1_IRQn, 0, 0);
  HAL_NVIC_EnableIRQ(DMA1_Channel1_IRQn);
  /* DMA1_Channel2_IRQn interrupt configuration */
  HAL_NVIC_SetPriority(DMA1_Channel2_IRQn, 0, 0);
  HAL_NVIC_EnableIRQ(DMA1_Channel2_IRQn);

}

static void MX_GPIO_Init(void)
{
  GPIO_InitTypeDef GPIO_InitStruct = {0};

  /* GPIO Ports Clock Enable */
  __HAL_RCC_GPIOE_CLK_ENABLE();
  __HAL_RCC_GPIOC_CLK_ENABLE();
  __HAL_RCC_GPIOF_CLK_ENABLE();
  __HAL_RCC_GPIOH_CLK_ENABLE();
  __HAL_RCC_GPIOA_CLK_ENABLE();
  __HAL_RCC_GPIOB_CLK_ENABLE();
  __HAL_RCC_GPIOG_CLK_ENABLE();
  __HAL_RCC_GPIOD_CLK_ENABLE();
  HAL_PWREx_EnableVddIO2();

  /*Configure GPIO pin Output Level */
  HAL_GPIO_WritePin(GPIOF, GPIO_PIN_13|GPIO_PIN_14|GPIO_PIN_15, GPIO_PIN_SET);

  /*Configure GPIO pin Output Level */
  HAL_GPIO_WritePin(GPIOG, GPIO_PIN_0|GPIO_PIN_1, GPIO_PIN_RESET);

  /*Configure GPIO pin Output Level */
  HAL_GPIO_WritePin(GPIOE, GPIO_PIN_12, GPIO_PIN_RESET);

  /*Configure GPIO pin Output Level */
  HAL_GPIO_WritePin(GPIOB, GPIO_PIN_7, GPIO_PIN_RESET);

  /*Configure GPIO pin : PE2 */
  GPIO_InitStruct.Pin = GPIO_PIN_2;
  GPIO_InitStruct.Mode = GPIO_MODE_AF_PP;
  GPIO_InitStruct.Pull = GPIO_NOPULL;
  GPIO_InitStruct.Speed = GPIO_SPEED_FREQ_LOW;
  GPIO_InitStruct.Alternate = GPIO_AF13_SAI1;
  HAL_GPIO_Init(GPIOE, &GPIO_InitStruct);

  /*Configure GPIO pins : PF0 PF1 PF2 */
  GPIO_InitStruct.Pin = GPIO_PIN_0|GPIO_PIN_1|GPIO_PIN_2;
  GPIO_InitStruct.Mode = GPIO_MODE_AF_OD;
  GPIO_InitStruct.Pull = GPIO_NOPULL;
  GPIO_InitStruct.Speed = GPIO_SPEED_FREQ_VERY_HIGH;
  GPIO_InitStruct.Alternate = GPIO_AF4_I2C2;
  HAL_GPIO_Init(GPIOF, &GPIO_InitStruct);

  /*Configure GPIO pin : PF7 */
  GPIO_InitStruct.Pin = GPIO_PIN_7;
  GPIO_InitStruct.Mode = GPIO_MODE_AF_PP;
  GPIO_InitStruct.Pull = GPIO_NOPULL;
  GPIO_InitStruct.Speed = GPIO_SPEED_FREQ_LOW;
  GPIO_InitStruct.Alternate = GPIO_AF13_SAI1;
  HAL_GPIO_Init(GPIOF, &GPIO_InitStruct);

  /*Configure GPIO pins : PC4 PC5 */
  GPIO_InitStruct.Pin = GPIO_PIN_4|GPIO_PIN_5;
  GPIO_InitStruct.Mode = GPIO_MODE_AF_PP;
  GPIO_InitStruct.Pull = GPIO_NOPULL;
  GPIO_InitStruct.Speed = GPIO_SPEED_FREQ_VERY_HIGH;
  GPIO_InitStruct.Alternate = GPIO_AF7_USART3;
  HAL_GPIO_Init(GPIOC, &GPIO_InitStruct);

  /*Configure GPIO pin : PB0 */
  GPIO_InitStruct.Pin = GPIO_PIN_0;
  GPIO_InitStruct.Mode = GPIO_MODE_AF_PP;
  GPIO_InitStruct.Pull = GPIO_NOPULL;
  GPIO_InitStruct.Speed = GPIO_SPEED_FREQ_VERY_HIGH;
  GPIO_InitStruct.Alternate = GPIO_AF10_OCTOSPIM_P1;
  HAL_GPIO_Init(GPIOB, &GPIO_InitStruct);

  /*Configure GPIO pin : PB2 */
  GPIO_InitStruct.Pin = GPIO_PIN_2;
  GPIO_InitStruct.Mode = GPIO_MODE_ANALOG;
  GPIO_InitStruct.Pull = GPIO_NOPULL;
  HAL_GPIO_Init(GPIOB, &GPIO_InitStruct);

  /*Configure GPIO pins : PF13 PF14 PF15 */
  GPIO_InitStruct.Pin = GPIO_PIN_13|GPIO_PIN_14|GPIO_PIN_15;
  GPIO_InitStruct.Mode = GPIO_MODE_OUTPUT_PP;
  GPIO_InitStruct.Pull = GPIO_NOPULL;
  GPIO_InitStruct.Speed = GPIO_SPEED_FREQ_HIGH;
  HAL_GPIO_Init(GPIOF, &GPIO_InitStruct);

  /*Configure GPIO pins : PG0 PG1 */
  GPIO_InitStruct.Pin = GPIO_PIN_0|GPIO_PIN_1;
  GPIO_InitStruct.Mode = GPIO_MODE_OUTPUT_PP;
  GPIO_InitStruct.Pull = GPIO_NOPULL;
  GPIO_InitStruct.Speed = GPIO_SPEED_FREQ_LOW;
  HAL_GPIO_Init(GPIOG, &GPIO_InitStruct);

  /*Configure GPIO pin : PE12 */
  GPIO_InitStruct.Pin = GPIO_PIN_12;
  GPIO_InitStruct.Mode = GPIO_MODE_OUTPUT_PP;
  GPIO_InitStruct.Pull = GPIO_NOPULL;
  GPIO_InitStruct.Speed = GPIO_SPEED_FREQ_LOW;
  HAL_GPIO_Init(GPIOE, &GPIO_InitStruct);

  /*Configure GPIO pins : PB12 PB13 PB15 */
  GPIO_InitStruct.Pin = GPIO_PIN_12|GPIO_PIN_13|GPIO_PIN_15;
  GPIO_InitStruct.Mode = GPIO_MODE_AF_PP;
  GPIO_InitStruct.Pull = GPIO_NOPULL;
  GPIO_InitStruct.Speed = GPIO_SPEED_FREQ_LOW;
  GPIO_InitStruct.Alternate = GPIO_AF13_SAI2;
  HAL_GPIO_Init(GPIOB, &GPIO_InitStruct);

  /*Configure GPIO pin : PB14 */
  GPIO_InitStruct.Pin = GPIO_PIN_14;
  GPIO_InitStruct.Mode = GPIO_MODE_AF_PP;
  GPIO_InitStruct.Pull = GPIO_NOPULL;
  GPIO_InitStruct.Speed = GPIO_SPEED_FREQ_LOW;
  GPIO_InitStruct.Alternate = GPIO_AF14_TIM15;
  HAL_GPIO_Init(GPIOB, &GPIO_InitStruct);

  /*Configure GPIO pin : PC6 */
  GPIO_InitStruct.Pin = GPIO_PIN_6;
  GPIO_InitStruct.Mode = GPIO_MODE_AF_PP;
  GPIO_InitStruct.Pull = GPIO_NOPULL;
  GPIO_InitStruct.Speed = GPIO_SPEED_FREQ_LOW;
  GPIO_InitStruct.Alternate = GPIO_AF13_SAI2;
  HAL_GPIO_Init(GPIOC, &GPIO_InitStruct);

  /*Configure GPIO pin : PC7 */
  GPIO_InitStruct.Pin = GPIO_PIN_7;
  GPIO_InitStruct.Mode = GPIO_MODE_AF_PP;
  GPIO_InitStruct.Pull = GPIO_NOPULL;
  GPIO_InitStruct.Speed = GPIO_SPEED_FREQ_VERY_HIGH;
  GPIO_InitStruct.Alternate = GPIO_AF8_SDMMC1;
  HAL_GPIO_Init(GPIOC, &GPIO_InitStruct);

  /*Configure GPIO pins : PC8 PC9 */
  GPIO_InitStruct.Pin = GPIO_PIN_8|GPIO_PIN_9;
  GPIO_InitStruct.Mode = GPIO_MODE_AF_PP;
  GPIO_InitStruct.Pull = GPIO_NOPULL;
  GPIO_InitStruct.Speed = GPIO_SPEED_FREQ_VERY_HIGH;
  GPIO_InitStruct.Alternate = GPIO_AF12_SDMMC1;
  HAL_GPIO_Init(GPIOC, &GPIO_InitStruct);

  /*Configure GPIO pins : PA8 PA10 */
  GPIO_InitStruct.Pin = GPIO_PIN_8|GPIO_PIN_10;
  GPIO_InitStruct.Mode = GPIO_MODE_AF_PP;
  GPIO_InitStruct.Pull = GPIO_NOPULL;
  GPIO_InitStruct.Speed = GPIO_SPEED_FREQ_VERY_HIGH;
  GPIO_InitStruct.Alternate = GPIO_AF10_OTG_FS;
  HAL_GPIO_Init(GPIOA, &GPIO_InitStruct);

  /*Configure GPIO pin : PA9 */
  GPIO_InitStruct.Pin = GPIO_PIN_9;
  GPIO_InitStruct.Mode = GPIO_MODE_INPUT;
  GPIO_InitStruct.Pull = GPIO_NOPULL;
  HAL_GPIO_Init(GPIOA, &GPIO_InitStruct);

  /*Configure GPIO pin : PD0 */
  GPIO_InitStruct.Pin = GPIO_PIN_0;
  GPIO_InitStruct.Mode = GPIO_MODE_AF_PP;
  GPIO_InitStruct.Pull = GPIO_NOPULL;
  GPIO_InitStruct.Speed = GPIO_SPEED_FREQ_VERY_HIGH;
  GPIO_InitStruct.Alternate = GPIO_AF9_CAN1;
  HAL_GPIO_Init(GPIOD, &GPIO_InitStruct);

  /*Configure GPIO pin : TOUCH_IRQ_Pin */
  GPIO_InitStruct.Pin = TOUCH_IRQ_Pin;
  GPIO_InitStruct.Mode = GPIO_MODE_INPUT;
  GPIO_InitStruct.Pull = GPIO_PULLUP;
  HAL_GPIO_Init(TOUCH_IRQ_GPIO_Port, &GPIO_InitStruct);

  /*Configure GPIO pin : PB7 */
  GPIO_InitStruct.Pin = GPIO_PIN_7;
  GPIO_InitStruct.Mode = GPIO_MODE_OUTPUT_PP;
  GPIO_InitStruct.Pull = GPIO_NOPULL;
  GPIO_InitStruct.Speed = GPIO_SPEED_FREQ_LOW;
  HAL_GPIO_Init(GPIOB, &GPIO_InitStruct);

  /*Configure GPIO pins : PB8 PB9 */
  GPIO_InitStruct.Pin = GPIO_PIN_8|GPIO_PIN_9;
  GPIO_InitStruct.Mode = GPIO_MODE_AF_OD;
  GPIO_InitStruct.Pull = GPIO_NOPULL;
  GPIO_InitStruct.Speed = GPIO_SPEED_FREQ_VERY_HIGH;
  GPIO_InitStruct.Alternate = GPIO_AF4_I2C1;
  HAL_GPIO_Init(GPIOB, &GPIO_InitStruct);

}

/* USER CODE BEGIN 4 */
#ifdef __GNUC__
#define PUTCHAR_PROTOTYPE int __io_putchar(int ch)
#else
  #define PUTCHAR_PROTOTYPE int fputc(int ch, FILE *f)
#endif /* __GNUC__ */
PUTCHAR_PROTOTYPE
{
  HAL_UART_Transmit(&hlpuart1, (uint8_t *)&ch, 1, 0xFFFF);
  return ch;
}

void HAL_UART_RxCpltCallback(UART_HandleTypeDef *huart) {
    if (huart == &huart2) {
    	roll = *((float*)UARTBuffer);
    	pitch = *((float*)(UARTBuffer + 4));

        HAL_UART_Receive_IT(&huart2, UARTBuffer, sizeof(UARTBuffer));
    }
}
void HAL_UART_ErrorCallback(UART_HandleTypeDef *huart) {
    if (huart == &huart2) {
        // Re-arm the receiver
        HAL_UART_Receive_IT(&huart2, UARTBuffer, sizeof(UARTBuffer));
    }
}
/* USER CODE END 4 */

void Error_Handler(void)
{
  __disable_irq();
  while (1)
  {
  }
}
